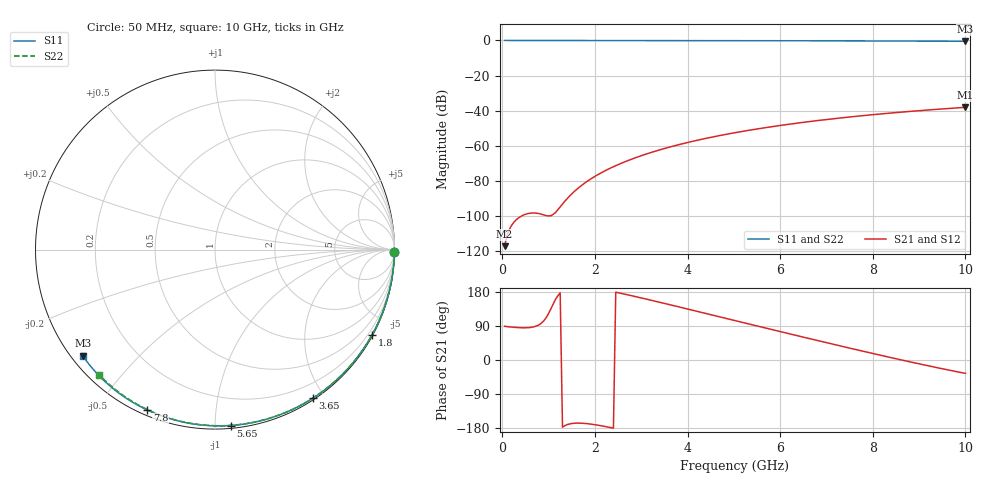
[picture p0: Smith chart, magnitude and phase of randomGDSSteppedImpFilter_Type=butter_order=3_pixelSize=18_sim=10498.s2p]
! freq	dB(S11)	phase(S11)	dB(S12)	phase(S12)
!  dB(S21)	phase(S21)	dB(S22)	phase(S22)
!S-par simulation data
#  GHz  S  DB  R 50
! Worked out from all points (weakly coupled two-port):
!   200 points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, 50 MHz to 10 GHz, reference 50 ohm
!   highest |S21| = -38.12 dB at 10 GHz (marker M1); lowest = -117.3 dB at 50 MHz (marker M2)
!   lowest |S11| = -0.5 dB at 10 GHz (marker M3), VSWR 35.36, Z = 1.59 - j17.6 ohm
!   |S11| at or under -10 dB: nowhere
!   |S22| runs from -0.4 to 0.0 dB; largest |S21 - S12| = 0
!   S11 on the Smith chart (normalised r, x): 50 MHz: open; 1.8 GHz: 0.03, -3.91; 3.65 GHz: 0.02, -1.85; 5.65 GHz: 0.02, -1.09; 7.8 GHz: 0.02, -0.66; 10 GHz: 0.03, -0.35
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0.05  -0.00 -0.8  -117.28 89.0  -117.28 89.0  -0.00 -0.8
0.45  -0.01 -7.3  -99.60 84.9  -99.60 84.9  -0.01 -6.9
0.9  -0.02 -14.5  -99.48 103.9  -99.48 103.9  -0.02 -13.7
1.75  -0.04 -27.9  -81.87 -167.0  -81.87 -167.0  -0.03 -26.4
1.8  -0.04 -28.7  -80.91 -167.6  -80.91 -167.6  -0.03 -27.2
1.85  -0.04 -29.4  -80.00 -168.2  -80.00 -168.2  -0.04 -27.9
2.15  -0.04 -34.1  -75.25 -173.9  -75.25 -173.9  -0.04 -32.3
2.35  -0.05 -37.2  -72.59 -178.6  -72.59 -178.6  -0.05 -35.3
2.55  -0.05 -40.2  -70.22 176.3  -70.22 176.3  -0.05 -38.2
2.95  -0.06 -46.3  -66.16 165.3  -66.16 165.3  -0.06 -43.9
3.4  -0.07 -53.0  -62.36 152.3  -62.36 152.3  -0.07 -50.3
3.65  -0.08 -56.7  -60.52 145.0  -60.52 145.0  -0.07 -53.8
4.3  -0.09 -66.1  -56.37 125.6  -56.37 125.6  -0.09 -62.8
5.05  -0.12 -76.7  -52.46 103.2  -52.46 103.2  -0.11 -72.9
5.65  -0.14 -84.9  -49.84 85.4  -49.84 85.4  -0.13 -80.7
6.15  -0.16 -91.6  -47.92 70.6  -47.92 70.6  -0.15 -87.0
6.7  -0.19 -98.8  -46.02 54.5  -46.02 54.5  -0.18 -93.9
7.25  -0.23 -105.9  -44.34 38.5  -44.34 38.5  -0.21 -100.6
7.8  -0.26 -112.9  -42.82 22.8  -42.82 22.8  -0.25 -107.2
8.35  -0.31 -119.9  -41.46 7.5  -41.46 7.5  -0.29 -113.7
9.2  -0.39 -130.7  -39.62 -15.4  -39.62 -15.4  -0.36 -123.6
10  -0.49 -141.2  -38.12 -35.3  -38.12 -35.3  -0.45 -132.7
